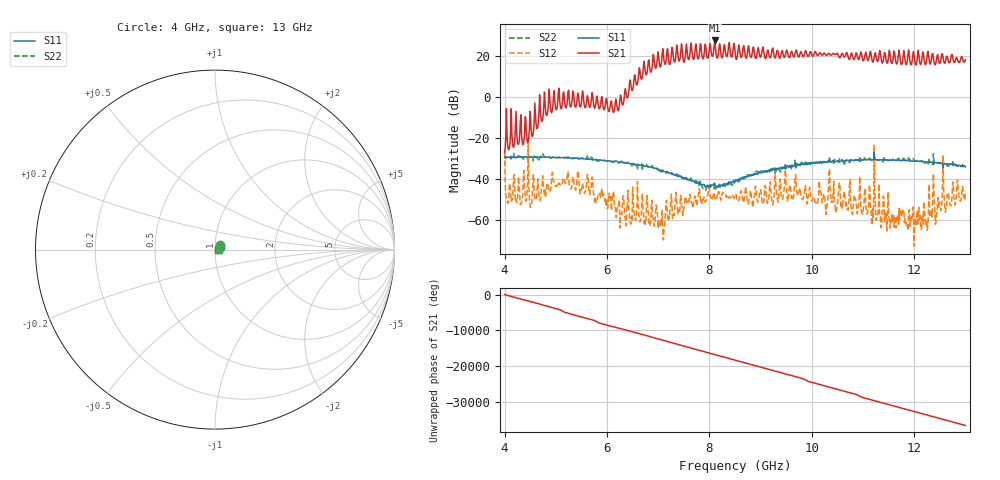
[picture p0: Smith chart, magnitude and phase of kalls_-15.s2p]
! Micran, Research & Production Company
! Date: 2025-04-17 14:09:16
! Frequency	S11	S21	S12	S22
# Hz S dB R 50
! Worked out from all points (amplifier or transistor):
!   764 points, 4 GHz to 13 GHz, reference 50 ohm
!   highest |S21| = 27.3 dB at 8.105 GHz (marker M1)
!   |S21| within 3 dB of that: 8.091242 GHz to 8.117721 GHz (26.48 MHz wide, 0.327 % of centre)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
!   unconditionally stable (mu >= 1): start of sweep to end of sweep
!   at 5.498 GHz: K = 135.20, MAG = -3.3 dB, |S12| = -45.3 dB
!   at 8.506 GHz: K = 11.59, MAG = 20.5 dB, |S12| = -47.8 dB
!   at 13 GHz: K = 12.52, MAG = 18.0 dB, |S12| = -45.9 dB
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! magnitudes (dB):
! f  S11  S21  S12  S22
! 4 GHz  -29.6  -27.3  -27.3  -28.4
! 4.047 GHz  -29.5  -18.8  -51.0  -29.6
! 4.448 GHz  -29.5  -22.3  -43.4  -30.0
! 4.507 GHz  -29.5  -10.4  -54.0  -29.5
! 4.873 GHz  -29.5  3.7  -44.6  -29.7
! 5.51 GHz  -30.1  -0.5  -43.4  -30.2
! 6.218 GHz  -31.8  -6.9  -53.6  -32.0
! 7.008 GHz  -35.4  19.5  -60.3  -35.8
! 8.105 GHz  -42.3  27.3  -49.1  -44.4
! 8.506 GHz  -40.8  20.5  -47.8  -40.5
! 9.473 GHz  -34.6  19.2  -40.2  -35.1
! 10 GHz  -32.5  20.1  -51.0  -32.5
! 10.36 GHz  -31.4  20.4  -45.3  -31.1
! 11.17 GHz  -30.8  18.2  -62.6  -30.9
! 11.22 GHz  -27.0  19.0  -23.8  -30.9
! 11.5 GHz  -31.0  20.2  -58.4  -31.0
! 12.03 GHz  -31.5  15.3  -62.3  -31.4
! 12.25 GHz  -31.8  18.1  -60.8  -32.3
! 12.36 GHz  -32.4  21.0  -48.4  -33.2
! 12.45 GHz  -32.3  19.7  -55.8  -32.0
! 12.55 GHz  -33.0  20.8  -44.6  -33.2
! 13 GHz  -34.2  17.9  -45.9  -34.1
